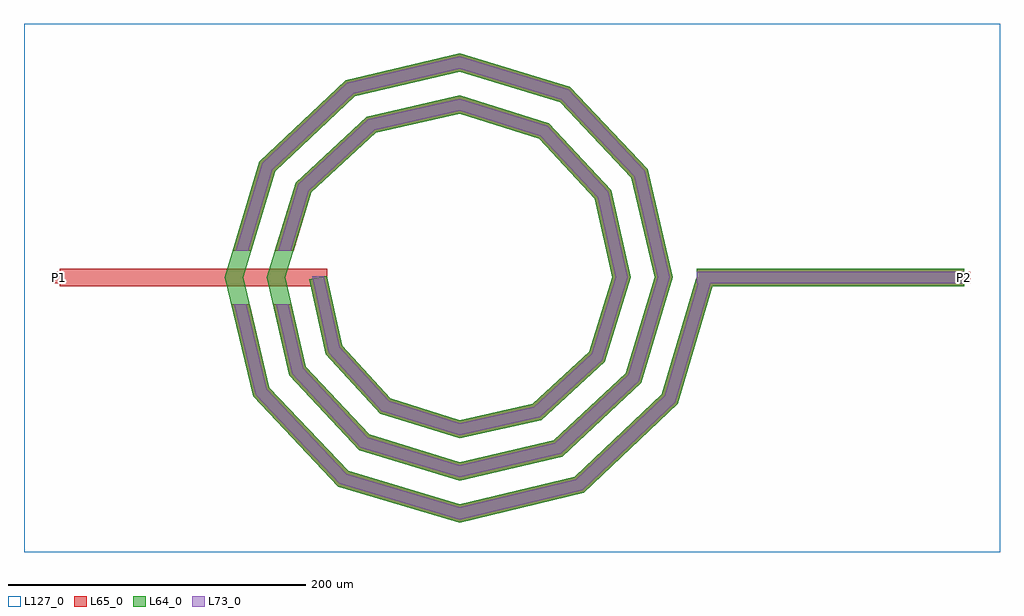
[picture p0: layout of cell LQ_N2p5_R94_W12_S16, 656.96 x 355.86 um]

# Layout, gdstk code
import gdstk
lib = gdstk.Library(unit=1e-6, precision=1e-09)
def R(c, l, rs):  # rectangles x0, y0, x1, y1
    for r in rs: c.add(gdstk.rectangle(r[:2], r[2:], *l))
def P(c, l, *ps):  # polygons
    for p in ps: c.add(gdstk.Polygon(p, *l))
L64_0 = (64, 0)
L65_0 = (65, 0)
L73_0 = (73, 0)
L127_0 = (127, 0)

lq_n2p5_r94_w12_s16 = lib.new_cell('LQ_N2p5_R94_W12_S16')
R(lq_n2p5_r94_w12_s16, L64_0, [(159.882,-6,339.882,6)])
P(lq_n2p5_r94_w12_s16, L64_0, [(-78.87,-45.859),(-46.559,-81.191),(0.268,-95.953),(49.383,-85.01),(87.313,-50.115),(103.032,0.25),(91.15,52.908),(53.668,93.436),(0.235,110.112),(-56.436,97.288),(-99.56,57.22),(-117.192,0.222),(-103.426,-59.964),(-60.771,-105.686),(0.21,-124.272),(63.494,-109.564),(111.812,-64.321),(131.352,0.199),(115.7,67.025),(67.87,117.938),(0.189,138.432),(-70.557,121.837),(-124.065,71.418),(-145.512,0.18),(-127.972,-74.09),(-74.965,-130.192),(0.172,-152.592),(77.623,-134.108),(136.32,-78.511),(160.13,1.707),(171.634,-1.707),(146.909,-85.011),(83.539,-145.033),(0.172,-165.012),(-81.477,-140.773),(-138.905,-79.992),(-157.931,0.18),(-134.637,77.944),(-76.444,132.777),(0.189,150.85),(74.412,128.5),(126.65,72.896),(143.77,0.199),(122.363,-70.88),(69.346,-120.523),(0.21,-136.689),(-67.349,-116.226),(-114.397,-65.796),(-129.609,0.222),(-110.087,63.82),(-62.244,108.271),(0.235,122.528),(60.292,103.948),(102.147,58.691),(115.447,0.25),(97.808,-56.765),(55.137,-96.023),(0.268,-108.366),(-53.24,-91.667),(-89.9,-51.58),(-100.939,-1.286),(-89.218,1.286)])
R(lq_n2p5_r94_w12_s16, L65_0, [(-269.079,-6,-89.079,6), (159.882,-6,339.882,6), (-273.079,-4,-265.079,4), (335.882,-4,343.882,4)])
P(lq_n2p5_r94_w12_s16, L65_0, [(-127.972,-74.09),(-74.965,-130.192),(0.172,-152.592),(77.623,-134.108),(136.32,-78.511),(160.13,1.707),(171.634,-1.707),(146.909,-85.011),(83.539,-145.033),(0.172,-165.012),(-81.477,-140.773),(-138.905,-79.992),(-153.617,-18),(-141.283,-18)],
  [(-103.426,-59.964),(-60.771,-105.686),(0.21,-124.272),(63.494,-109.564),(111.812,-64.321),(131.352,0.199),(115.7,67.025),(67.87,117.938),(0.189,138.432),(-70.557,121.837),(-124.065,71.418),(-140.066,18),(-152.593,18),(-134.637,77.944),(-76.444,132.777),(0.189,150.851),(74.412,128.5),(126.65,72.896),(143.77,0.199),(122.363,-70.88),(69.347,-120.523),(0.21,-136.689),(-67.349,-116.226),(-114.397,-65.796),(-125.41,-18),(-113.096,-18)],
  [(-46.559,-81.191),(0.268,-95.953),(49.383,-85.01),(87.313,-50.115),(103.032,0.25),(91.15,52.908),(53.668,93.436),(0.235,110.112),(-56.436,97.289),(-99.56,57.22),(-111.599,18),(-124.152,18),(-110.087,63.82),(-62.245,108.271),(0.235,122.528),(60.292,103.948),(102.147,58.691),(115.447,0.25),(97.808,-56.765),(55.137,-96.023),(0.268,-108.366),(-53.24,-91.667),(-89.9,-51.58),(-100.939,-1.286),(-89.218,1.286),(-78.87,-45.859)])
R(lq_n2p5_r94_w12_s16, L73_0, [(159.882,-4,339.882,4)])
P(lq_n2p5_r94_w12_s16, L73_0, [(-129.795,-75.074),(-76.05,-131.956),(0.115,-154.662),(78.609,-135.929),(138.085,-79.595),(162.048,1.138),(169.717,-1.138),(145.144,-83.928),(82.553,-143.212),(0.115,-162.942),(-80.392,-139.01),(-137.083,-79.008),(-151.561,-18),(-143.339,-18)],
  [(-105.255,-60.936),(-61.868,-107.442),(0.14,-126.342),(64.47,-111.39),(113.57,-65.414),(133.422,0.133),(117.525,68.004),(68.96,119.698),(0.126,140.502),(-71.538,123.66),(-125.827,72.505),(-142.154,18),(-150.505,18),(-132.875,76.856),(-75.463,130.954),(0.126,148.781),(73.321,126.74),(124.825,71.917),(141.7,0.133),(120.605,-69.787),(68.371,-118.697),(0.14,-134.62),(-66.253,-114.469),(-112.569,-64.824),(-123.358,-18),(-115.148,-18)],
  [(-47.673,-82.937),(0.178,-98.021),(50.342,-86.846),(89.062,-51.223),(105.101,0.167),(92.983,53.872),(54.772,95.188),(0.157,112.181),(-57.404,99.119),(-101.315,58.32),(-113.691,18),(-122.059,18),(-108.333,62.72),(-61.276,106.441),(0.157,120.459),(59.188,102.196),(100.314,57.728),(113.378,0.167),(96.059,-55.657),(54.178,-94.187),(0.178,-106.297),(-52.127,-89.921),(-88.061,-50.626),(-98.986,0.858),(-91.172,0.858),(-80.708,-46.813)])
R(lq_n2p5_r94_w12_s16, L127_0, [(-293.079,-185.012,363.882,170.851)])
lq_n2p5_r94_w12_s16.add(gdstk.Label('P2', (339.882,0), layer=65, texttype=0))
lq_n2p5_r94_w12_s16.add(gdstk.Label('P1', (-269.079,0), layer=65, texttype=0))
lq_n2p5_r94_w12_s16.add(gdstk.Label('P2', (343.882,0), layer=145, texttype=0))
lq_n2p5_r94_w12_s16.add(gdstk.Label('P1', (-273.079,0), layer=145, texttype=0))

lib.write_gds('LQ_N2p5_R94_W12_S16.gds')
